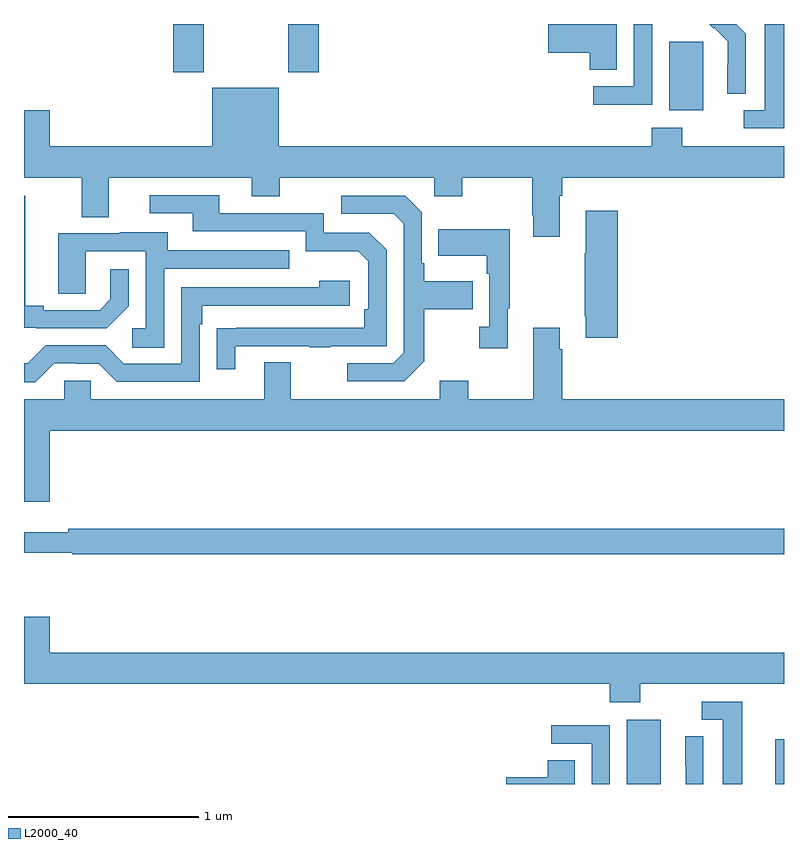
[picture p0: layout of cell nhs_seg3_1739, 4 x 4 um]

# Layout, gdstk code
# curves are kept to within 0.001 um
import gdstk
lib = gdstk.Library(unit=1e-6, precision=1e-09)
def R(c, l, rs):  # rectangles x0, y0, x1, y1
    for r in rs: c.add(gdstk.rectangle(r[:2], r[2:], *l))
def P(c, l, *ps):  # polygons
    for p in ps: c.add(gdstk.Polygon(p, *l))
L2000_40 = (2000, 40)

nhs_seg3_1739 = lib.new_cell('nhs_seg3_1739')
R(nhs_seg3_1739, L2000_40, [(204.173,688.4,204.352,688.738), (204.953,688.4,205,688.635), (204.395,691.946,204.574,692.307), (201.785,692.145,201.945,692.4), (202.39,692.145,202.55,692.4)])
P(nhs_seg3_1739, L2000_40, [(204.798,692.35),(204.748,692.4),(204.606,692.4),(204.63,692.376),(204.633,692.379),(204.704,692.309),(204.704,692.186),(204.702,692.186),(204.702,692.032),(204.798,692.032)],
  [(204.306,692.4),(204.21,692.4),(204.21,692.073),(203.997,692.073),(203.997,691.975),(204.306,691.975)],
  [(204.121,692.4),(203.76,692.4),(203.76,692.249),(203.978,692.249),(203.978,692.158),(204.121,692.158)],
  [(205,692.4),(204.899,692.4),(204.899,691.947),(204.789,691.947),(204.789,691.851),(205,691.851)],
  [(203.821,691.496),(203.834,691.496),(203.834,691.592),(205,691.592),(205,691.756),(204.465,691.756),(204.465,691.855),(204.305,691.855),(204.305,691.756),(202.342,691.756),(202.342,692.065),(201.992,692.065),(201.992,691.756),(201.136,691.756),(201.136,691.945),(201,691.945),(201,691.592),(201.305,691.592),(201.305,691.384),(201.445,691.384),(201.445,691.592),(202.199,691.592),(202.199,691.493),(202.347,691.493),(202.347,691.592),(203.16,691.592),(203.16,691.493),(203.307,691.493),(203.307,691.592),(203.674,691.592),(203.674,691.393),(203.681,691.393),(203.681,691.281),(203.821,691.281)],
  [(202.111,690.705),(202.501,690.705),(202.501,690.7),(202.613,690.7),(202.613,690.705),(202.908,690.705),(202.908,691.212),(202.818,691.302),(202.578,691.302),(202.578,691.404),(202.027,691.404),(202.027,691.5),(201.663,691.5),(201.663,691.404),(201.887,691.404),(201.887,691.308),(202.482,691.308),(202.482,691.205),(202.759,691.205),(202.812,691.152),(202.812,690.898),(202.792,690.898),(202.792,690.801),(202.015,690.8),(202.015,690.582),(202.111,690.582)],
  [(203.107,690.625),(203.107,690.898),(203.363,690.898),(203.363,691.045),(203.107,691.045),(203.107,691.141),(203.094,691.141),(203.094,691.41),(203.007,691.497),(202.671,691.497),(202.671,691.401),(202.947,691.401),(202.998,691.35),(202.998,690.669),(202.944,690.615),(202.701,690.615),(202.701,690.519),(203.001,690.519)],
  [(201.552,690.914),(201.552,691.108),(201.455,691.108),(201.455,690.951),(201.398,690.894),(201.103,690.894),(201.103,690.917),(201.007,690.917),(201.007,691.497),(201,691.497),(201,690.801),(201.064,690.801),(201.064,690.798),(201.436,690.798)],
  [(204.125,691.417),(203.957,691.417),(203.957,691.193),(203.95,691.193),(203.95,690.862),(203.957,690.862),(203.957,690.75),(204.125,690.75)],
  [(203.545,690.905),(203.557,690.905),(203.557,691.321),(203.179,691.321),(203.179,691.181),(203.436,691.181),(203.436,691.085),(203.448,691.085),(203.448,690.806),(203.397,690.806),(203.397,690.693),(203.545,690.693)],
  [(201.738,691.113),(202.397,691.113),(202.397,691.209),(201.757,691.209),(201.757,691.303),(201.503,691.303),(201.503,691.299),(201.179,691.299),(201.179,690.979),(201.324,690.979),(201.324,691.203),(201.642,691.203),(201.642,690.798),(201.57,690.798),(201.57,690.697),(201.738,690.697)],
  [(201.159,690.615),(201.275,690.615),(201.275,690.612),(201.393,690.612),(201.489,690.516),(201.924,690.516),(201.924,690.821),(201.937,690.821),(201.937,690.918),(202.714,690.918),(202.714,691.048),(202.553,691.048),(202.553,691.014),(201.828,691.014),(201.828,690.612),(201.525,690.612),(201.429,690.708),(201.114,690.708),(201.021,690.615),(201,690.615),(201,690.515),(201.059,690.515)],
  [(201.136,690.26),(205,690.26),(205,690.424),(203.834,690.424),(203.834,690.689),(203.821,690.689),(203.821,690.802),(203.681,690.802),(203.681,690.424),(203.337,690.424),(203.337,690.523),(203.189,690.523),(203.189,690.424),(202.405,690.424),(202.405,690.619),(202.265,690.619),(202.265,690.424),(201.351,690.424),(201.351,690.522),(201.213,690.522),(201.213,690.424),(201,690.424),(201,689.886),(201.136,689.886)],
  [(205,689.744),(201.232,689.744),(201.232,689.725),(201,689.725),(201,689.616),(201.255,689.616),(201.255,689.608),(205,689.608)],
  [(204.243,688.928),(205,688.928),(205,689.092),(201.136,689.092),(201.136,689.281),(201,689.281),(201,688.928),(204.083,688.928),(204.083,688.829),(204.243,688.829)],
  [(204.781,688.833),(204.567,688.833),(204.567,688.737),(204.677,688.737),(204.677,688.4),(204.781,688.4)],
  [(204.084,688.71),(203.775,688.71),(203.775,688.611),(203.988,688.611),(203.988,688.4),(204.084,688.4)],
  [(204.576,688.652),(204.48,688.652),(204.48,688.498),(204.482,688.498),(204.482,688.4),(204.576,688.4)],
  [(203.899,688.526),(203.756,688.526),(203.756,688.436),(203.538,688.436),(203.538,688.4),(203.899,688.4)])

lib.write_gds('nhs_seg3_1739.gds')
